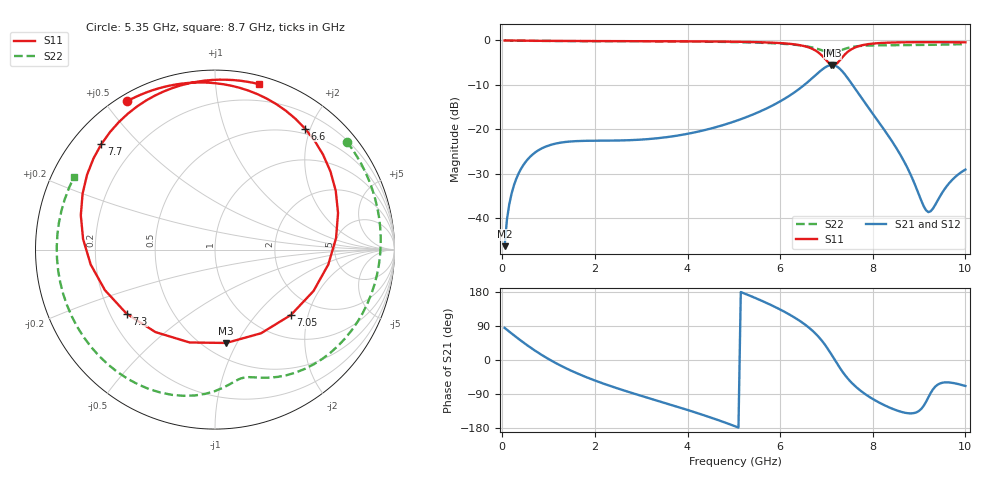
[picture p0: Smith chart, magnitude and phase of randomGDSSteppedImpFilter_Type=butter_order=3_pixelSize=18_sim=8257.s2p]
! freq	dB(S11)	phase(S11)	dB(S12)	phase(S12)
!  dB(S21)	phase(S21)	dB(S22)	phase(S22)
!S-par simulation data
#  GHz  S  DB  R 50
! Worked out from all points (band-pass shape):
!   200 points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, 50 MHz to 10 GHz, reference 50 ohm
!   highest |S21| = -5.54 dB at 7.1 GHz (marker M1); lowest = -46.3 dB at 50 MHz (marker M2)
!   |S21| within 3 dB of the highest: 6.687 GHz to 7.462 GHz (775.2 MHz wide, 11 % of centre)
!   lowest |S11| = -5.6 dB at 7.15 GHz (marker M3), VSWR 3.20, Z = 31.6 - j45.2 ohm
!   |S11| at or under -10 dB: nowhere
!   |S22| runs from -2.7 to 0.0 dB; largest |S21 - S12| = 0
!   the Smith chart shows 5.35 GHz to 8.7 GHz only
!   S11 on the Smith chart (normalised r, x): 5.35 GHz: 0.03, +0.57; 6.6 GHz: 0.42, +1.92; 7.05 GHz: 1.48, -1.56; 7.3 GHz: 0.27, -0.30; 7.7 GHz: 0.08, +0.39; 8.7 GHz: 0.06, +1.30
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0.05  -0.00 -4.2  -46.33 84.8  -46.33 84.8  -0.00 -5.7
0.25  -0.03 -20.7  -32.67 65.3  -32.67 65.3  -0.04 -28.2
0.75  -0.08 -59.2  -24.93 21.2  -24.93 21.2  -0.10 -78.3
1.75  -0.13 -117.9  -22.61 -42.1  -22.61 -42.1  -0.14 -148.3
2.5  -0.14 -149.3  -22.53 -75.4  -22.53 -75.4  -0.15 174.6
3.4  -0.17 -179.5  -21.97 -109.4  -21.97 -109.4  -0.19 135.3
4.3  -0.21 153.5  -20.36 -143.6  -20.36 -143.6  -0.26 94.8
5.05  -0.29 130.6  -18.11 -176.0  -18.11 -176.0  -0.38 56.4
5.35  -0.35 120.7  -16.94 169.5  -16.94 169.5  -0.45 39.3
6  -0.59 94.7  -13.72 133.2  -13.72 133.2  -0.72 -2.1
6.6  -1.51 53.3  -9.34 87.5  -9.34 87.5  -1.38 -45.5
6.7  -1.92 41.3  -8.43 77.1  -8.43 77.1  -1.60 -53.0
7.05  -5.06 -40.7  -5.66 25.6  -5.66 25.6  -2.66 -74.9
7.1  -5.48 -61.1  -5.54 16.1  -5.54 16.1  -2.72 -77.0
7.15  -5.62 -83.2  -5.56 6.2  -5.56 6.2  -2.70 -79.0
7.3  -4.32 -144.1  -6.49 -22.7  -6.49 -22.7  -2.26 -86.7
7.45  -2.65 175.4  -8.36 -47.4  -8.36 -47.4  -1.72 -97.9
7.7  -1.27 137.1  -12.10 -77.5  -12.10 -77.5  -1.26 -119.6
8.35  -0.49 90.9  -21.68 -124.9  -21.68 -124.9  -1.09 -176.7
8.7  -0.41 75.1  -27.72 -139.3  -27.72 -139.3  -1.08 152.8
9.2  -0.38 55.7  -38.66 -98.6  -38.66 -98.6  -1.00 109.1
10  -0.42 28.1  -29.08 -68.6  -29.08 -68.6  -0.84 41.4
